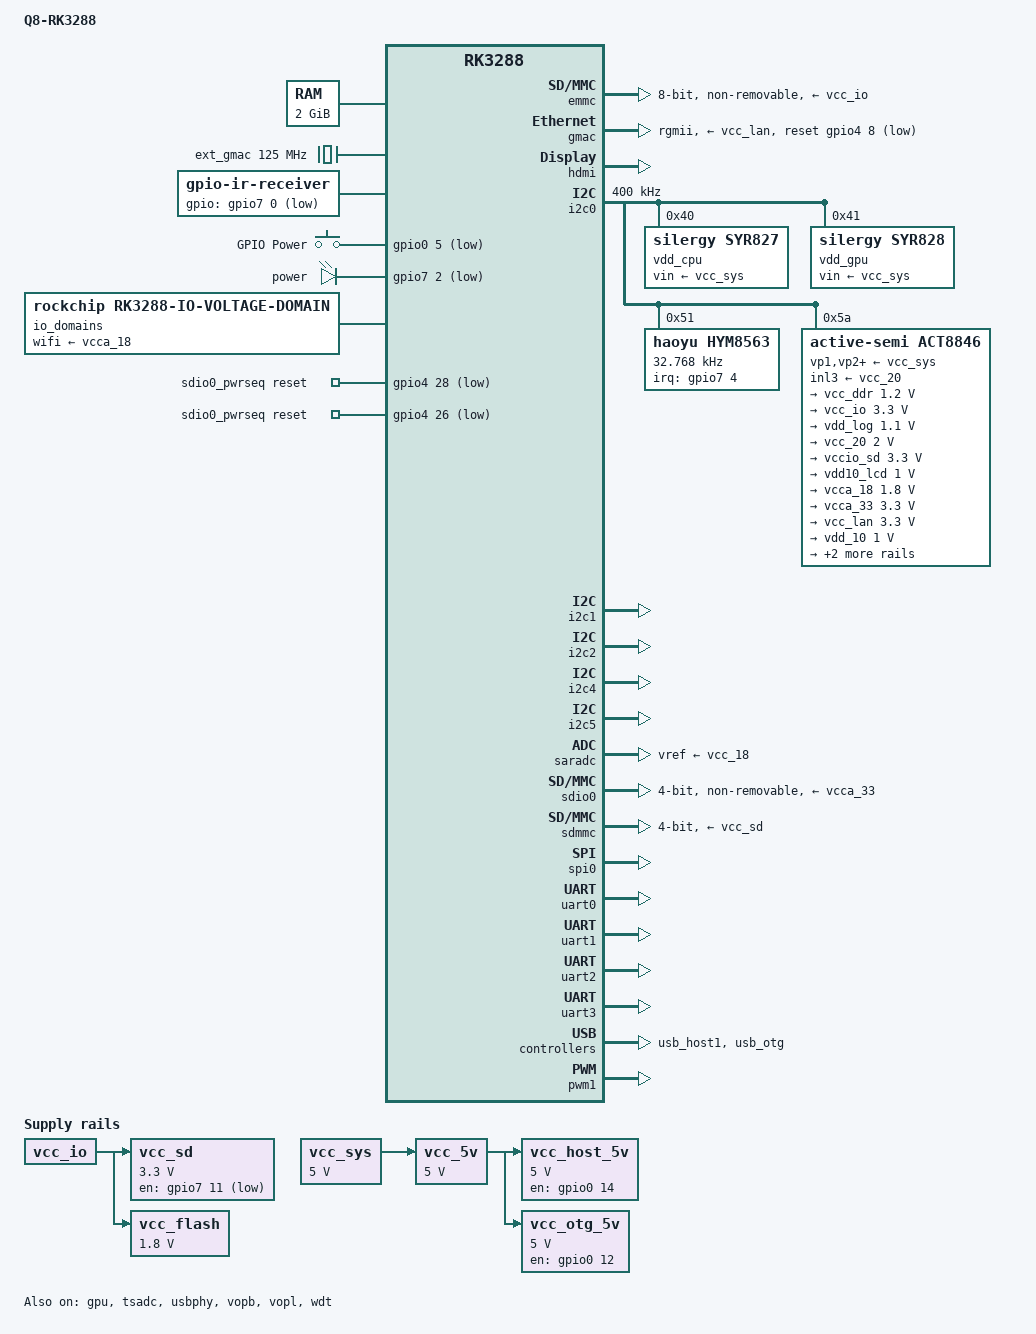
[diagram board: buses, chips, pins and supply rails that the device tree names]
/*
 * Copyright (c) 2014, 2015 FUKAUMI Naoki <naobsd@gmail.com>
 *
 * This file is dual-licensed: you can use it either under the terms
 * of the GPL or the X11 license, at your option. Note that this dual
 * licensing only applies to this file, and not this project as a
 * whole.
 *
 *  a) This file is free software; you can redistribute it and/or
 *     modify it under the terms of the GNU General Public License as
 *     published by the Free Software Foundation; either version 2 of the
 *     License, or (at your option) any later version.
 *
 *     This file is distributed in the hope that it will be useful,
 *     but WITHOUT ANY WARRANTY; without even the implied warranty of
 *     MERCHANTABILITY or FITNESS FOR A PARTICULAR PURPOSE.  See the
 *     GNU General Public License for more details.
 *
 * Or, alternatively,
 *
 *  b) Permission is hereby granted, free of charge, to any person
 *     obtaining a copy of this software and associated documentation
 *     files (the "Software"), to deal in the Software without
 *     restriction, including without limitation the rights to use,
 *     copy, modify, merge, publish, distribute, sublicense, and/or
 *     sell copies of the Software, and to permit persons to whom the
 *     Software is furnished to do so, subject to the following
 *     conditions:
 *
 *     The above copyright notice and this permission notice shall be
 *     included in all copies or substantial portions of the Software.
 *
 *     THE SOFTWARE IS PROVIDED "AS IS", WITHOUT WARRANTY OF ANY KIND,
 *     EXPRESS OR IMPLIED, INCLUDING BUT NOT LIMITED TO THE WARRANTIES
 *     OF MERCHANTABILITY, FITNESS FOR A PARTICULAR PURPOSE AND
 *     NONINFRINGEMENT. IN NO EVENT SHALL THE AUTHORS OR COPYRIGHT
 *     HOLDERS BE LIABLE FOR ANY CLAIM, DAMAGES OR OTHER LIABILITY,
 *     WHETHER IN AN ACTION OF CONTRACT, TORT OR OTHERWISE, ARISING
 *     FROM, OUT OF OR IN CONNECTION WITH THE SOFTWARE OR THE USE OR
 *     OTHER DEALINGS IN THE SOFTWARE.
 */

/dts-v1/;

#include <dt-bindings/clock/rockchip,rk808.h>
#include <dt-bindings/input/input.h>

#include "rk3288.dtsi"

/ {
	model = "Q8-RK3288";
	compatible = "generic,q8-rk3288", "rockchip,rk3288";

	memory {
		reg = <0 0x80000000>;
	};

	ext_gmac: external-gmac-clock {
		compatible = "fixed-clock";
		#clock-cells = <0>;
		clock-frequency = <125000000>;
		clock-output-names = "ext_gmac";
	};

	ir: ir-receiver {
		compatible = "gpio-ir-receiver";
		pinctrl-names = "default";
		pinctrl-0 = <&ir_int>;
		gpios = <&gpio7 0 GPIO_ACTIVE_LOW>;
	};

	keys: gpio-keys {
		compatible = "gpio-keys";
		#address-cells = <1>;
		#size-cells = <0>;

		button@0 {
			gpio-key,wakeup = <1>;
			gpios = <&gpio0 5 GPIO_ACTIVE_LOW>;
			label = "GPIO Power";
			linux,code = <116>;
			pinctrl-names = "default";
			pinctrl-0 = <&pwr_key>;
		};
	};

	leds {
		compatible = "gpio-leds";

		power {
			gpios = <&gpio7 2 GPIO_ACTIVE_LOW>;
			label = "power";
			linux,default-trigger = "mmc2";
			pinctrl-names = "default";
			pinctrl-0 = <&power_led>;
		};
	};

	vcc_sys: vsys-regulator {
		compatible = "regulator-fixed";
		regulator-name = "vcc_sys";
		regulator-min-microvolt = <5000000>;
		regulator-max-microvolt = <5000000>;
		regulator-always-on;
		regulator-boot-on;
	};

	vcc_sd: sdmmc-regulator {
		compatible = "regulator-fixed";
		gpio = <&gpio7 11 GPIO_ACTIVE_LOW>;
		pinctrl-names = "default";
		pinctrl-0 = <&sdmmc_pwr>;
		regulator-name = "vcc_sd";
		regulator-min-microvolt = <3300000>;
		regulator-max-microvolt = <3300000>;
		startup-delay-us = <100000>;
		vin-supply = <&vcc_io>;
	};

	vcc_flash: flash-regulator {
		compatible = "regulator-fixed";
		regulator-name = "vcc_flash";
		regulator-min-microvolt = <1800000>;
		regulator-max-microvolt = <1800000>;
		vin-supply = <&vcc_io>;
	};

	vcc_5v: usb-regulator {
		compatible = "regulator-fixed";
		regulator-name = "vcc_5v";
		regulator-min-microvolt = <5000000>;
		regulator-max-microvolt = <5000000>;
		regulator-always-on;
		regulator-boot-on;
		vin-supply = <&vcc_sys>;
	};

	vcc_host_5v: usb-host-regulator {
		compatible = "regulator-fixed";
		enable-active-high;
		gpio = <&gpio0 14 GPIO_ACTIVE_HIGH>;
		pinctrl-names = "default";
		pinctrl-0 = <&host_vbus_drv>;
		regulator-name = "vcc_host_5v";
		regulator-min-microvolt = <5000000>;
		regulator-max-microvolt = <5000000>;
		regulator-always-on;
		vin-supply = <&vcc_5v>;
	};

	vcc_otg_5v: usb-otg-regulator {
		compatible = "regulator-fixed";
		enable-active-high;
		gpio = <&gpio0 12 GPIO_ACTIVE_HIGH>;
		pinctrl-names = "default";
		pinctrl-0 = <&otg_vbus_drv>;
		regulator-name = "vcc_otg_5v";
		regulator-min-microvolt = <5000000>;
		regulator-max-microvolt = <5000000>;
		regulator-always-on;
		vin-supply = <&vcc_5v>;
	};

	io_domains: io-domains {
                compatible = "rockchip,rk3288-io-voltage-domain";
                rockchip,grf = <&grf>;

                wifi-supply = <&vcca_18>;
        };

/*
	sdio0_pwrseq: sdio0_pwrseq {
		compatible = "mmc-pwrseq-simple";
		reset-gpios = <&gpio4 28 GPIO_ACTIVE_HIGH>, <&gpio4 29 GPIO_ACTIVE_HIGH>;
	};
*/

	sdio0_pwrseq: sdio0-pwrseq {
                compatible = "mmc-pwrseq-simple";
/*		clocks = <&cru RK808_CLKOUT1>;
                clock-names = "ext_clock";
                pinctrl-names = "default";
                pinctrl-0 = <&bt_enable_l>, <&wifi_enable_h>;

*/
                reset-gpios = <&gpio4 28 GPIO_ACTIVE_LOW>, <&gpio4 26 GPIO_ACTIVE_LOW>;
		delay = <20>;
        };
};

&cpu0 {
	cpu0-supply = <&vdd_cpu>;
};

&emmc {
	broken-cd;
	bus-width = <8>;
	cap-mmc-highspeed;
	disable-wp;
	non-removable;
	num-slots = <1>;
	pinctrl-names = "default";
	pinctrl-0 = <&emmc_clk>, <&emmc_cmd>, <&emmc_pwr>, <&emmc_bus8>;
	vmmc-supply = <&vcc_io>;
	vqmmc-supply = <&vcc_flash>;
	status = "okay";
};

&gmac {
	assigned-clocks = <&cru SCLK_MAC>;
	assigned-clock-parents = <&ext_gmac>;
	clock_in_out = "input";
	pinctrl-names = "default";
	pinctrl-0 = <&rgmii_pins>, <&phy_rst>, <&phy_pmeb>, <&phy_int>;
	phy-supply = <&vcc_lan>;
	phy-mode = "rgmii";
	snps,reset-active-low;
	snps,reset-delays-us = <0 10000 1000000>;
	snps,reset-gpio = <&gpio4 8 GPIO_ACTIVE_LOW>;
	tx_delay = <0x30>;
	rx_delay = <0x10>;
	status = "ok";
};

&hdmi {
	ddc-i2c-bus = <&i2c5>;
	status = "okay";
};

&gpu {
	mali-supply = <&vdd_gpu>;
	status = "okay";
};

&i2c0 {
	clock-frequency = <400000>;
	status = "okay";

	vdd_cpu: syr827@40 {
		compatible = "silergy,syr827";
		fcs,suspend-voltage-selector = <1>;
		reg = <0x40>;
		regulator-name = "vdd_cpu";
		regulator-min-microvolt = <850000>;
		regulator-max-microvolt = <1350000>;
		regulator-ramp-delay = <8000>;
		regulator-always-on;
		regulator-boot-on;
		vin-supply = <&vcc_sys>;
	};

	vdd_gpu: syr828@41 {
		compatible = "silergy,syr828";
		fcs,suspend-voltage-selector = <1>;
		reg = <0x41>;
		regulator-name = "vdd_gpu";
		regulator-min-microvolt = <850000>;
		regulator-max-microvolt = <1350000>;
		regulator-ramp-delay = <8000>;
		regulator-always-on;
		vin-supply = <&vcc_sys>;
	};

	hym8563: hym8563@51 {
		compatible = "haoyu,hym8563";
		reg = <0x51>;
		#clock-cells = <0>;
		clock-frequency = <32768>;
		clock-output-names = "xin32k";
		interrupt-parent = <&gpio7>;
		interrupts = <4 IRQ_TYPE_EDGE_FALLING>;
		pinctrl-names = "default";
		pinctrl-0 = <&rtc_int>;
	};

	act8846: act8846@5a {
		compatible = "active-semi,act8846";
		reg = <0x5a>;
		pinctrl-names = "default";
		pinctrl-0 = <&pmic_vsel>, <&pwr_hold>;
		system-power-controller;

		vp1-supply = <&vcc_sys>;
		vp2-supply = <&vcc_sys>;
		vp3-supply = <&vcc_sys>;
		vp4-supply = <&vcc_sys>;
		inl1-supply = <&vcc_sys>;
		inl2-supply = <&vcc_sys>;
		inl3-supply = <&vcc_20>;

		regulators {
			vcc_ddr: REG1 {
				regulator-name = "vcc_ddr";
				regulator-min-microvolt = <1200000>;
				regulator-max-microvolt = <1200000>;
				regulator-always-on;
			};

			vcc_io: REG2 {
				regulator-name = "vcc_io";
				regulator-min-microvolt = <3300000>;
				regulator-max-microvolt = <3300000>;
				regulator-always-on;
			};

			vdd_log: REG3 {
				regulator-name = "vdd_log";
				regulator-min-microvolt = <1100000>;
				regulator-max-microvolt = <1100000>;
				regulator-always-on;
			};

			vcc_20: REG4 {
				regulator-name = "vcc_20";
				regulator-min-microvolt = <2000000>;
				regulator-max-microvolt = <2000000>;
				regulator-always-on;
			};

			vccio_sd: REG5 {
				regulator-name = "vccio_sd";
				regulator-min-microvolt = <3300000>;
				regulator-max-microvolt = <3300000>;
				regulator-always-on;
			};

			vdd10_lcd: REG6 {
				regulator-name = "vdd10_lcd";
				regulator-min-microvolt = <1000000>;
				regulator-max-microvolt = <1000000>;
				regulator-always-on;
			};

			vcca_18: REG7 {
				regulator-name = "vcca_18";
				regulator-min-microvolt = <1800000>;
				regulator-max-microvolt = <1800000>;
				regulator-always-on;
			};

			vcca_33: REG8 {
				regulator-name = "vcca_33";
				regulator-min-microvolt = <3300000>;
				regulator-max-microvolt = <3300000>;
			};

			vcc_lan: REG9 {
				regulator-name = "vcc_lan";
				regulator-min-microvolt = <3300000>;
				regulator-max-microvolt = <3300000>;
			};

			vdd_10: REG10 {
				regulator-name = "vdd_10";
				regulator-min-microvolt = <1000000>;
				regulator-max-microvolt = <1000000>;
				regulator-always-on;
			};

			vcc_18: REG11 {
				regulator-name = "vcc_18";
				regulator-min-microvolt = <1800000>;
				regulator-max-microvolt = <1800000>;
				regulator-always-on;
			};

			vcc18_lcd: REG12 {
				regulator-name = "vcc18_lcd";
				regulator-min-microvolt = <1800000>;
				regulator-max-microvolt = <1800000>;
				regulator-always-on;
			};
		};
	};
};

&i2c1 {
	status = "okay";
};

&i2c2 {
	status = "okay";
};

&i2c4 {
	status = "okay";
};

&i2c5 {
	status = "okay";
};

&pinctrl {
	pcfg_output_high: pcfg-output-high {
		output-high;
	};

	pcfg_output_low: pcfg-output-low {
		output-low;
	};

	pcfg_wl: pcfg-wl {
                bias-pull-up;
                drive-strength = <8>;
        };

        pcfg_wl_clk: pcfg-wl-clk {
                bias-disable;
                drive-strength = <12>;
        };

	pcfg_wl_int: pcfg-wl-int {
                bias-pull-up;
        };


	act8846 {
		pmic_vsel: pmic-vsel {
			rockchip,pins = <7 14 RK_FUNC_GPIO &pcfg_output_low>;
		};
		pwr_hold: pwr-hold {
			rockchip,pins = <0 1 RK_FUNC_GPIO &pcfg_output_high>;
		};
	};

	gmac {
		phy_int: phy-int {
			rockchip,pins = <0 9 RK_FUNC_GPIO &pcfg_pull_up>;
		};

		phy_pmeb: phy-pmeb {
			rockchip,pins = <0 8 RK_FUNC_GPIO &pcfg_pull_up>;
		};

		phy_rst: phy-rst {
			rockchip,pins = <4 8 RK_FUNC_GPIO &pcfg_output_high>;
		};
	};

	hym8563 {
		rtc_int: rtc-int {
			rockchip,pins = <7 4 RK_FUNC_GPIO &pcfg_pull_up>;
		};
	};

	keys {
		pwr_key: pwr-key {
			rockchip,pins = <0 5 RK_FUNC_GPIO &pcfg_pull_up>;
		};
	};

	leds {
		power_led: power-led {
			rockchip,pins = <7 2 RK_FUNC_GPIO &pcfg_pull_none>;
		};
	};

	ir {
		ir_int: ir-int {
			rockchip,pins = <7 0 RK_FUNC_GPIO &pcfg_pull_up>;
		};
	};

	sdmmc {
		sdmmc_pwr: sdmmc-pwr {
			rockchip,pins = <7 11 RK_FUNC_GPIO &pcfg_pull_none>;
		};
	};

	usb_host {
		host_vbus_drv: host-vbus-drv {
			rockchip,pins = <0 14 RK_FUNC_GPIO &pcfg_pull_none>;
		};

		usbhub_rst: usbhub-rst {
			rockchip,pins = <8 3 RK_FUNC_GPIO &pcfg_output_high>;
		};
	};

	usb_otg {
		otg_vbus_drv: otg-vbus-drv {
			rockchip,pins = <0 12 RK_FUNC_GPIO &pcfg_pull_none>;
		};
	};

	sdio0 {
                wifi_enable_h: wifienable-h {
                        rockchip,pins = <4 28 RK_FUNC_GPIO &pcfg_pull_none>;
                };

                /* NOTE: mislabelled on schematic; should be bt_enable_h */
                bt_enable_l: bt-enable-l {
                        rockchip,pins = <4 29 RK_FUNC_GPIO &pcfg_pull_none>;
                };

                sdio0_bus4: sdio0-bus4 {
                        rockchip,pins = <4 20 RK_FUNC_1 &pcfg_wl>,
                                        <4 21 RK_FUNC_1 &pcfg_wl>,
                                        <4 22 RK_FUNC_1 &pcfg_wl>,
                                        <4 23 RK_FUNC_1 &pcfg_wl>;
                };

                sdio0_cmd: sdio0-cmd {
                        rockchip,pins = <4 24 RK_FUNC_1 &pcfg_wl>;
                };

                sdio0_clk: sdio0-clk {
                        rockchip,pins = <4 25 RK_FUNC_1 &pcfg_wl_clk>;
                };

                sdio0_int: sdio0-int {
                        rockchip,pins = <4 30 RK_FUNC_1 &pcfg_wl_int>;
              };

	};
};

&saradc {
	vref-supply = <&vcc_18>;
	status = "okay";
};



&sdio0 {
	broken-cd;
	mmc-pwrseq = <&sdio0_pwrseq>;

	bus-width = <4>;
	pinctrl-names = "default";
        pinctrl-0 = <&sdio0_bus4>, <&sdio0_cmd>, <&sdio0_clk>, <&sdio0_int>;

	non-removable;
	num-slots = <1>;
	vmmc-supply = <&vcca_33>;
        vqmmc-supply = <&vcca_18>;

	clock-freq-min-max = <400000 8000000>;

	status = "okay";
/*
        cap-sd-highspeed;
	max-frequency = <5000000>; 
        cap-sdio-irq;
	card-detect-delay = <100>;
        keep-power-in-suspend;
*/


/*
	brcmf: bcrmf@1 {
		reg = <1>;
		compatible = "brcm,bcm4329-fmac";
		interrupt-parent = <&gpio4>;
		interrupts = <30 IRQ_TYPE_LEVEL_LOW>;
		interrupt-names = "host-wake";
		status = "okay";
	}; 
*/

};

&sdmmc {
	bus-width = <4>;
	cap-mmc-highspeed;
	cap-sd-highspeed;
	card-detect-delay = <200>;
	disable-wp;
	num-slots = <1>;
	pinctrl-names = "default";
	pinctrl-0 = <&sdmmc_clk>, <&sdmmc_cmd>, <&sdmmc_cd>, <&sdmmc_bus4>;
	vmmc-supply = <&vcc_sd>;
	status = "okay";
};

&spi0 {
	pinctrl-names = "default";
	pinctrl-0 = <&spi0_clk>, <&spi0_cs0>, <&spi0_tx>, <&spi0_rx>, <&spi0_cs1>;
	status = "okay";
};

&tsadc {
	rockchip,hw-tshut-mode = <0>;
	rockchip,hw-tshut-polarity = <0>;
	status = "okay";
};

&uart0 {
	pinctrl-names = "default";
	pinctrl-0 = <&uart0_xfer>, <&uart0_cts>, <&uart0_rts>;
	status = "okay";
};

&uart1 {
	status = "okay";
};

&uart2 {
	status = "okay";
};

&uart3 {
	status = "okay";
};

&usbphy {
	status = "okay";
};

&usb_host1 {
	pinctrl-names = "default";
	pinctrl-0 = <&usbhub_rst>;
	status = "okay";
};

&usb_otg {
	status = "okay";
};

&vopb {
	status = "okay";
};

&vopb_mmu {
	status = "okay";
};

&vopl {
	status = "okay";
};

&vopl_mmu {
	status = "okay";
};

&wdt {
	status = "okay";
};

&pwm1 {
	status = "okay";
};

